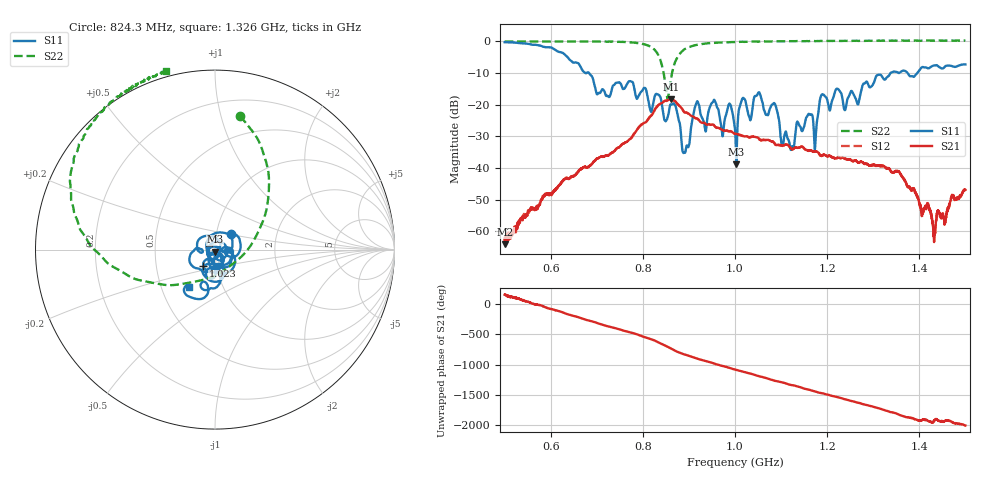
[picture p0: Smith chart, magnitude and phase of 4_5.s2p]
!Keysight Technologies,N5242B,MY48420860,A.13.80.08
!Date: Saturday, September 26, 2020 13:12:22
!Correction: S11(Full 2 Port(1,2))
!S21(Full 2 Port(1,2))
!S12(Full 2 Port(1,2))
!S22(Full 2 Port(1,2))
!S2P File: Measurements: S11, S21, S12, S22:
# Hz S  dB  R 50
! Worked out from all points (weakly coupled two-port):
!   2650 points, 500 MHz to 1.5 GHz, reference 50 ohm
!   highest |S21| = -18.16 dB at 860.9 MHz (marker M1); lowest = -64.1 dB at 501.5 MHz (marker M2)
!   lowest |S11| = -38.8 dB at 1.003 GHz (marker M3), VSWR 1.02, Z = 50 - j1.15 ohm
!   |S11| at or under -10 dB: 675.5542 MHz to 677.6889 MHz (2.135 MHz wide, 0.315 % of centre); 683.4 MHz to 1.337 GHz (654.1 MHz wide, 64.7 % of centre); 1.375 GHz to 1.395 GHz (20.65 MHz wide, 1.49 % of centre)
!   |S22| runs from -18.2 to 0.3 dB; largest |S21 - S12| = 0.00063
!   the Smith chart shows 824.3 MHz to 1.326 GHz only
!   S11 on the Smith chart (normalised r, x): 824.3 MHz: 1.17, +0.20; 1.023 GHz: 0.86, -0.16; 1.326 GHz: 0.70, -0.31
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5e8  -0.23 -166.2  -63.55 152.6  -62.15 152.3  -0.03 147.2
5.0151e8  -0.24 -167.0  -64.06 147.8  -64.68 155.7  -0.04 147.2
6.038128e8  -2.09 126.0  -47.84 -87.4  -47.81 -88.6  -0.02 139.0
6.668554e8  -8.57 77.2  -40.26 123.7  -40.27 124.4  -0.03 132.6
8.242733e8  -18.27 44.4  -22.04 121.3  -22.05 121.1  -2.44 79.4
8.337108e8  -16.79 9.1  -20.10 86.8  -20.11 86.6  -4.36 63.8
8.525859e8  -24.55 2.7  -18.71 17.8  -18.73 17.8  -17.59 -31.8
8.608909e8  -19.86 -13.4  -18.16 -14.7  -18.18 -14.8  -11.93 -131.8
8.89581e8  -35.14 48.2  -22.29 -111.2  -22.32 -111.2  -2.55 172.7
9.17516e8  -18.96 49.7  -24.30 -179.6  -24.33 -179.6  -1.04 155.4
9.726312e8  -29.77 -80.7  -28.02 56.7  -28.04 56.9  -0.35 139.8
9.892412e8  -19.91 -94.5  -28.35 22.6  -28.38 22.6  -0.22 137.2
1.000189e9  -28.07 -130.5  -29.17 -1.6  -29.21 -1.8  -0.17 135.5
1.002831e9  -38.76 -88.2  -29.14 -7.3  -29.16 -7.2  -0.18 135.1
1.022839e9  -18.90 -125.2  -30.00 -47.8  -30.01 -47.7  -0.09 132.3
1.085504e9  -19.50 148.4  -32.12 173.8  -32.14 173.8  0.06 125.6
1.123254e9  -33.37 36.1  -34.09 100.7  -34.06 100.8  0.07 122.1
1.166667e9  -23.09 -55.0  -34.56 11.0  -34.64 10.8  0.12 118.4
1.325972e9  -12.00 -124.5  -39.71 42.4  -39.76 43.1  0.27 105.2
1.333522e9  -10.90 -123.6  -40.16 26.2  -40.07 25.6  0.26 104.6
1.43205e9  -7.60 -171.0  -63.40 -121.1  -61.05 -130.7  0.27 96.6
1.5e9  -7.27 165.7  -46.84 154.6  -46.68 155.9  0.25 90.8
